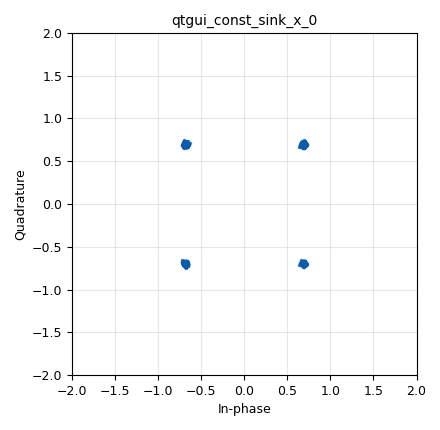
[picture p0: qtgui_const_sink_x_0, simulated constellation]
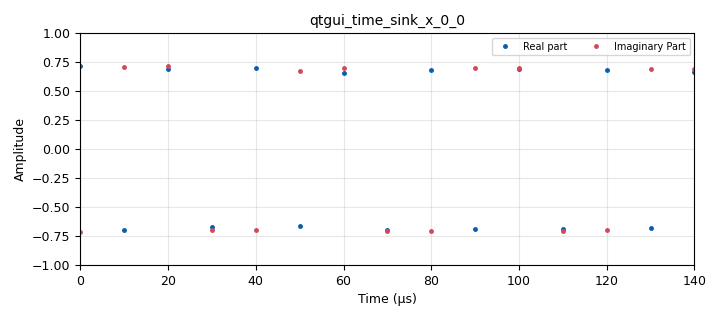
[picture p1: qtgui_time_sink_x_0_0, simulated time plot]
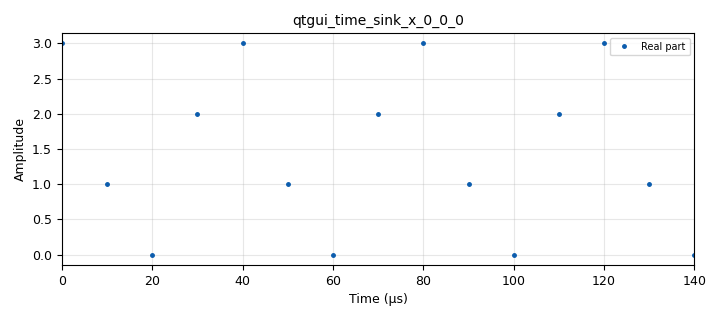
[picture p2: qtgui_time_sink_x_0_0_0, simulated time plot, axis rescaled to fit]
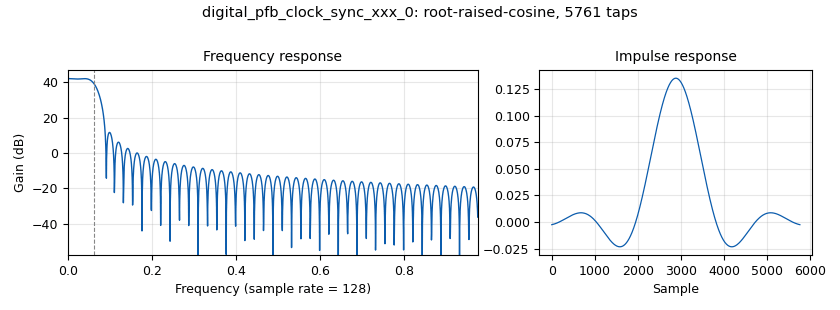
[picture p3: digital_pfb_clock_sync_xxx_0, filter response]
<?xml version='1.0' encoding='utf-8'?>
<?grc format='1' created='3.7.10'?>
<flow_graph>
<block>
<key>options</key>
<param><key>id</key><value>qpsk_modulator_demodutator_detector</value></param>
<param><key>author</key><value>Alexandros-Apostolos A. Boulogeorgos</value></param>
<param><key>generate_options</key><value>qt_gui</value></param>
</block>
<block>
<key>variable_constellation</key>
<param><key>id</key><value>QPSK</value></param>
<param><key>const_points</key><value>[0.707+0.707j, -0.707+0.707j, -0.707-0.707j, 0.707-0.707j]</value></param>
<param><key>type</key><value>calcdist</value></param>
<param><key>dims</key><value>1</value></param>
<param><key>rot_sym</key><value>4</value></param>
<param><key>precision</key><value>8</value></param>
<param><key>sym_map</key><value>[0, 1, 2, 3]</value></param>
</block>
<block>
<key>variable</key>
<param><key>id</key><value>code1</value></param>
<param><key>value</key><value>'010110011011101100010101011111101001001110001011010001101010001'</value></param>
</block>
<block>
<key>variable</key>
<param><key>id</key><value>code2</value></param>
<param><key>value</key><value>'11011010110111011000110011110101100010010011110111'</value></param>
</block>
<block>
<key>variable</key>
<param><key>id</key><value>freq_offset</value></param>
<param><key>value</key><value>0</value></param>
</block>
<block>
<key>variable</key>
<param><key>id</key><value>nfilts</value></param>
<param><key>value</key><value>128</value></param>
</block>
<block>
<key>variable_qtgui_range</key>
<param><key>id</key><value>noise_voltage</value></param>
<param><key>value</key><value>.063</value></param>
<param><key>gui_hint</key><value>0,1,1,1</value></param>
<param><key>orient</key><value>Qt.Horizontal</value></param>
<param><key>start</key><value>0.0</value></param>
<param><key>step</key><value>.001</value></param>
<param><key>stop</key><value>1</value></param>
</block>
<block>
<key>variable</key>
<param><key>id</key><value>rrc_taps</value></param>
<param><key>value</key><value>firdes.root_raised_cosine(nfilts, nfilts, 1.0/float(sps), 0.35, 45*nfilts)</value></param>
</block>
<block>
<key>variable</key>
<param><key>id</key><value>samp_rate</value></param>
<param><key>value</key><value>100000</value></param>
</block>
<block>
<key>variable</key>
<param><key>id</key><value>sps</value></param>
<param><key>value</key><value>8</value></param>
</block>
<block>
<key>variable_qtgui_range</key>
<param><key>id</key><value>timing_loop_bandwidth</value></param>
<param><key>value</key><value>.063</value></param>
<param><key>gui_hint</key><value>0,0,1,1</value></param>
<param><key>orient</key><value>Qt.Horizontal</value></param>
<param><key>start</key><value>.001</value></param>
<param><key>step</key><value>.001</value></param>
<param><key>stop</key><value>.2</value></param>
</block>
<block>
<key>analog_random_source_x</key>
<param><key>id</key><value>analog_random_source_x_0</value></param>
<param><key>_enabled</key><value>False</value></param>
<param><key>max</key><value>256</value></param>
<param><key>min</key><value>0</value></param>
<param><key>num_samps</key><value>1000</value></param>
<param><key>type</key><value>byte</value></param>
<param><key>repeat</key><value>True</value></param>
</block>
<block>
<key>blocks_char_to_float</key>
<param><key>id</key><value>blocks_char_to_float_0</value></param>
<param><key>scale</key><value>1</value></param>
</block>
<block>
<key>blocks_throttle</key>
<param><key>id</key><value>blocks_throttle_0</value></param>
<param><key>samples_per_second</key><value>samp_rate</value></param>
<param><key>type</key><value>byte</value></param>
</block>
<block>
<key>blocks_unpacked_to_packed_xx</key>
<param><key>id</key><value>blocks_unpacked_to_packed_xx_0</value></param>
<param><key>bits_per_chunk</key><value>1</value></param>
<param><key>endianness</key><value>gr.GR_MSB_FIRST</value></param>
<param><key>type</key><value>byte</value></param>
</block>
<block>
<key>blocks_vector_source_x</key>
<param><key>id</key><value>blocks_vector_source_x_0_0_0</value></param>
<param><key>type</key><value>byte</value></param>
<param><key>repeat</key><value>True</value></param>
<param><key>vector</key><value>(1,0,1,1,0,1, 0, 0)</value></param>
</block>
<block>
<key>channels_channel_model</key>
<param><key>id</key><value>channels_channel_model_0</value></param>
<param><key>epsilon</key><value>1.0</value></param>
<param><key>freq_offset</key><value>freq_offset/samp_rate</value></param>
<param><key>noise_voltage</key><value>noise_voltage</value></param>
<param><key>seed</key><value>0</value></param>
<param><key>taps</key><value>1</value></param>
</block>
<block>
<key>digital_constellation_decoder_cb</key>
<param><key>id</key><value>digital_constellation_decoder_cb_0</value></param>
<param><key>constellation</key><value>QPSK</value></param>
</block>
<block>
<key>digital_constellation_modulator</key>
<param><key>id</key><value>digital_constellation_modulator_0</value></param>
<param><key>constellation</key><value>QPSK</value></param>
<param><key>differential</key><value>False</value></param>
<param><key>excess_bw</key><value>0.35</value></param>
<param><key>samples_per_symbol</key><value>sps</value></param>
</block>
<block>
<key>digital_pfb_clock_sync_xxx</key>
<param><key>id</key><value>digital_pfb_clock_sync_xxx_0</value></param>
<param><key>filter_size</key><value>nfilts</value></param>
<param><key>init_phase</key><value>nfilts/2</value></param>
<param><key>loop_bw</key><value>timing_loop_bandwidth</value></param>
<param><key>max_dev</key><value>1.5</value></param>
<param><key>osps</key><value>1</value></param>
<param><key>sps</key><value>sps</value></param>
<param><key>taps</key><value>rrc_taps</value></param>
<param><key>type</key><value>ccf</value></param>
</block>
<block>
<key>qtgui_const_sink_x</key>
<param><key>id</key><value>qtgui_const_sink_x_0</value></param>
<param><key>gui_hint</key><value>1,0,1,1</value></param>
<param><key>grid</key><value>True</value></param>
<param><key>size</key><value>1024</value></param>
<param><key>type</key><value>complex</value></param>
</block>
<block>
<key>qtgui_time_sink_x</key>
<param><key>id</key><value>qtgui_time_sink_x_0_0</value></param>
<param><key>gui_hint</key><value>1, 1, 1, 1</value></param>
<param><key>grid</key><value>True</value></param>
<param><key>color1</key><value>"blue"</value></param>
<param><key>label1</key><value>Real part</value></param>
<param><key>marker1</key><value>0</value></param>
<param><key>style1</key><value>0</value></param>
<param><key>color2</key><value>"red"</value></param>
<param><key>label2</key><value>Imaginary Part</value></param>
<param><key>marker2</key><value>0</value></param>
<param><key>style2</key><value>0</value></param>
<param><key>size</key><value>15</value></param>
<param><key>srate</key><value>samp_rate</value></param>
<param><key>type</key><value>complex</value></param>
</block>
<block>
<key>qtgui_time_sink_x</key>
<param><key>id</key><value>qtgui_time_sink_x_0_0_0</value></param>
<param><key>gui_hint</key><value>2,1, 1, 1</value></param>
<param><key>grid</key><value>True</value></param>
<param><key>color1</key><value>"blue"</value></param>
<param><key>label1</key><value>Real part</value></param>
<param><key>marker1</key><value>0</value></param>
<param><key>style1</key><value>0</value></param>
<param><key>size</key><value>15</value></param>
<param><key>srate</key><value>samp_rate</value></param>
<param><key>type</key><value>float</value></param>
</block>
<block>
<key>virtual_sink</key>
<param><key>id</key><value>virtual_sink_0</value></param>
<param><key>stream_id</key><value>mod_output</value></param>
</block>
<block>
<key>virtual_source</key>
<param><key>id</key><value>virtual_source_0</value></param>
<param><key>stream_id</key><value>mod_output</value></param>
</block>
<connection><source_block_id>analog_random_source_x_0</source_block_id><sink_block_id>blocks_unpacked_to_packed_xx_0</sink_block_id><source_key>0</source_key><sink_key>0</sink_key></connection>
<connection><source_block_id>blocks_char_to_float_0</source_block_id><sink_block_id>qtgui_time_sink_x_0_0_0</sink_block_id><source_key>0</source_key><sink_key>0</sink_key></connection>
<connection><source_block_id>blocks_throttle_0</source_block_id><sink_block_id>digital_constellation_modulator_0</sink_block_id><source_key>0</source_key><sink_key>0</sink_key></connection>
<connection><source_block_id>blocks_unpacked_to_packed_xx_0</source_block_id><sink_block_id>blocks_throttle_0</sink_block_id><source_key>0</source_key><sink_key>0</sink_key></connection>
<connection><source_block_id>blocks_vector_source_x_0_0_0</source_block_id><sink_block_id>blocks_unpacked_to_packed_xx_0</sink_block_id><source_key>0</source_key><sink_key>0</sink_key></connection>
<connection><source_block_id>channels_channel_model_0</source_block_id><sink_block_id>digital_pfb_clock_sync_xxx_0</sink_block_id><source_key>0</source_key><sink_key>0</sink_key></connection>
<connection><source_block_id>digital_constellation_decoder_cb_0</source_block_id><sink_block_id>blocks_char_to_float_0</sink_block_id><source_key>0</source_key><sink_key>0</sink_key></connection>
<connection><source_block_id>digital_constellation_modulator_0</source_block_id><sink_block_id>virtual_sink_0</sink_block_id><source_key>0</source_key><sink_key>0</sink_key></connection>
<connection><source_block_id>digital_pfb_clock_sync_xxx_0</source_block_id><sink_block_id>digital_constellation_decoder_cb_0</sink_block_id><source_key>0</source_key><sink_key>0</sink_key></connection>
<connection><source_block_id>digital_pfb_clock_sync_xxx_0</source_block_id><sink_block_id>qtgui_const_sink_x_0</sink_block_id><source_key>0</source_key><sink_key>0</sink_key></connection>
<connection><source_block_id>digital_pfb_clock_sync_xxx_0</source_block_id><sink_block_id>qtgui_time_sink_x_0_0</sink_block_id><source_key>0</source_key><sink_key>0</sink_key></connection>
<connection><source_block_id>virtual_source_0</source_block_id><sink_block_id>channels_channel_model_0</sink_block_id><source_key>0</source_key><sink_key>0</sink_key></connection>
</flow_graph>
